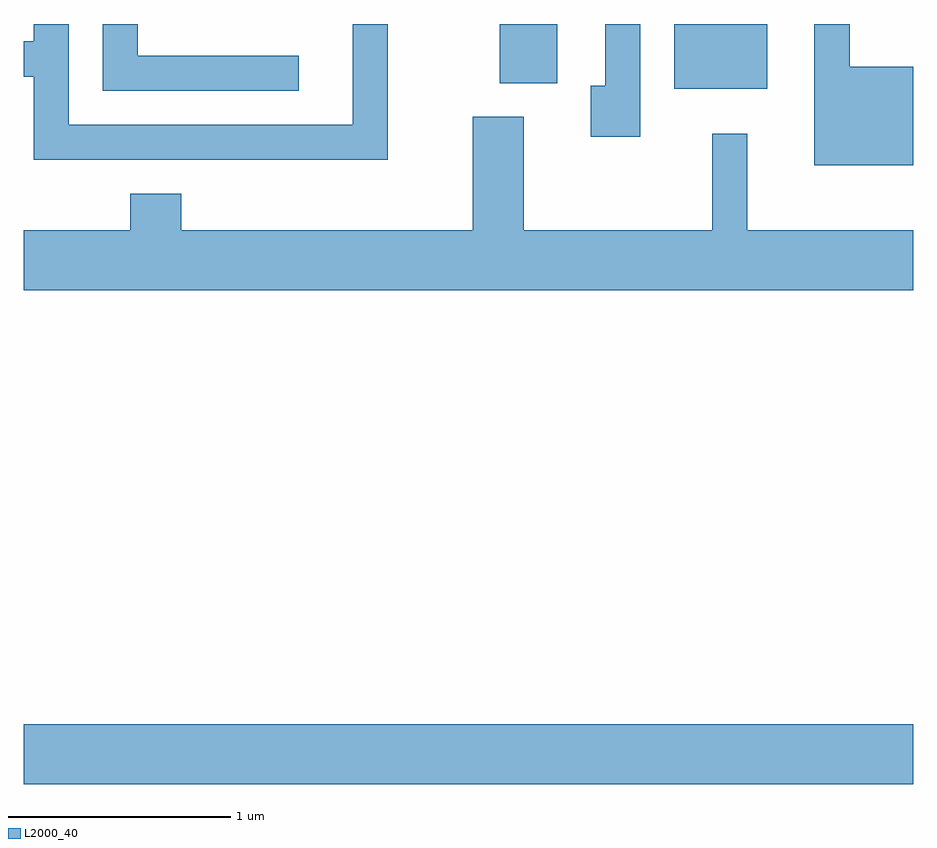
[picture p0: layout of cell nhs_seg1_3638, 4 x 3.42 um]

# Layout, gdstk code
import gdstk
lib = gdstk.Library(unit=1e-6, precision=1e-09)
def R(c, l, rs):  # rectangles x0, y0, x1, y1
    for r in rs: c.add(gdstk.rectangle(r[:2], r[2:], *l))
def P(c, l, *ps):  # polygons
    for p in ps: c.add(gdstk.Polygon(p, *l))
L2000_40 = (2000, 40)

nhs_seg1_3638 = lib.new_cell('nhs_seg1_3638')
R(nhs_seg1_3638, L2000_40, [(295.611,846.296,299.611,846.564), (298.536,849.421,298.954,849.712), (297.751,849.446,298.009,849.712)])
P(nhs_seg1_3638, L2000_40, [(297.249,849.712),(297.091,849.712),(297.091,849.259),(295.814,849.259),(295.814,849.712),(295.656,849.712),(295.656,849.634),(295.611,849.634),(295.611,849.476),(295.656,849.476),(295.656,849.101),(297.249,849.101)],
  [(299.611,849.519),(299.324,849.519),(299.324,849.712),(299.166,849.712),(299.166,849.076),(299.611,849.076)],
  [(298.384,849.712),(298.226,849.712),(298.226,849.434),(298.161,849.434),(298.161,849.206),(298.384,849.206)],
  [(296.848,849.569),(296.124,849.569),(296.124,849.712),(295.966,849.712),(295.966,849.411),(296.848,849.411)],
  [(299.611,848.784),(298.864,848.784),(298.864,849.218),(298.706,849.218),(298.706,848.784),(297.859,848.784),(297.859,849.294),(297.631,849.294),(297.631,848.784),(296.319,848.784),(296.319,848.949),(296.091,848.949),(296.091,848.784),(295.611,848.784),(295.611,848.516),(299.611,848.516)])

lib.write_gds('nhs_seg1_3638.gds')
